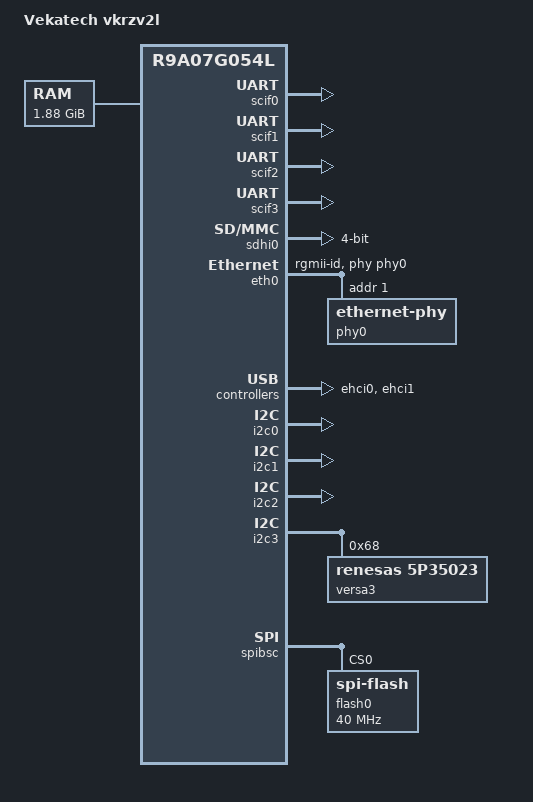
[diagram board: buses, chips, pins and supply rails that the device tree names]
// SPDX-License-Identifier: GPL-2.0
/*
 * Device Tree Source for the VK-RZV2L board
 *
 * Copyright (C) 2017 Jacopo Mondi <jacopo+renesas@jmondi.org>
 * Copyright (C) 2016 Renesas Electronics
 */

/dts-v1/;
#include <dt-bindings/gpio/gpio.h>
#include "r9a07g054l.dtsi"
#include "r9a07g054l-u-boot.dtsi"
#include <dt-bindings/pinctrl/rzv2l-pinctrl.h>

/ {
        model = "Vekatech vkrzv2l";
        compatible = "renesas,r9a07g054l", "renesas,rzv2l";

        aliases {
                serial0 = &scif0;
                serial1 = &scif1;
                serial2 = &scif2;
                serial3 = &scif3;
                spi0 = &spibsc;
        };

        chosen {
                stdout-path = "serial0:115200n8";
        };

        memory@48000000 {
                device_type = "memory";
                /* first 128MB is reserved for secure area. */
                reg = <0 0x48000000 0 0x78000000>;
        };


        usb0-select {
                label = "usb0-sel";
                gpios = <&P5 2 GPIO_ACTIVE_HIGH>;
        };

};

&pinctrl {
        eth0_pins: eth0 {
                pinmux = <RZV2L_PINMUX(20, 0, 1)>,
                                <RZV2L_PINMUX(20, 1, 1)>,
                                <RZV2L_PINMUX(20, 2, 1)>,
                                <RZV2L_PINMUX(21, 0, 1)>,
                                <RZV2L_PINMUX(21, 1, 1)>,
                                <RZV2L_PINMUX(22, 0, 1)>,
                                <RZV2L_PINMUX(23, 0, 1)>,
                                <RZV2L_PINMUX(23, 1, 1)>,
                                <RZV2L_PINMUX(24, 0, 1)>,
                                <RZV2L_PINMUX(24, 1, 1)>,
                                <RZV2L_PINMUX(25, 0, 1)>,
                                <RZV2L_PINMUX(25, 1, 1)>,
                                <RZV2L_PINMUX(26, 0, 1)>,
                                <RZV2L_PINMUX(26, 1, 1)>,
                                <RZV2L_PINMUX(27, 0, 1)>,
                                <RZV2L_PINMUX(27, 1, 1)>,
                                <RZV2L_PINMUX(28, 0, 1)>,
                                <RZV2L_PINMUX(28, 1, 1)>;
        };

        i2c2_pins: i2c2 {
                pinmux = <RZV2L_PINMUX(46, 0, 4)>,
                         <RZV2L_PINMUX(46, 1, 4)>;
        }; 

        i2c3_pins: i2c3 {
                pinmux = <RZV2L_PINMUX(18, 0, 3)>,
                         <RZV2L_PINMUX(18, 1, 3)>;
        }; 

        scif1_pins: scif1 {
                pinmux = <RZV2L_PINMUX(40, 0, 1)>,
                         <RZV2L_PINMUX(40, 1, 1)>;
        };

        scif2_pins: scif2 {
                pinmux = <RZV2L_PINMUX(48, 0, 1)>,
                         <RZV2L_PINMUX(48, 1, 1)>;
        };

        scif3_pins: scif3 {
                pinmux = <RZV2L_PINMUX(0, 0, 4)>,
                         <RZV2L_PINMUX(0, 1, 4)>;
        };
};

&xinclk {
        clock-frequency = <24000000>;
};

&scif0 {
        status = "okay";
        clock = <100000000>;
};

&scif1 {
        pinctrl-names = "default";
        pinctrl-0 = <&scif1_pins>;

        status = "okay";
};

&scif2 {
        pinctrl-names = "default";
        pinctrl-0 = <&scif2_pins>;

        status = "okay";
};


&scif3 {
        pinctrl-names = "default";
        pinctrl-0 = <&scif3_pins>;

        status = "okay";
};

&sdhi0 {
        /* pinctrl placeholder
         * If this channel is used for interfacing with a SD card, a power enable
         * pin (SD0_PWR_EN) must be defined.
         * The SD0_PWR_EN pin is associated with P19_0.
         * A HIGH signal on SD0_PWR_EN will enable supply voltage for SD card.
        */
        bus-width = <4>;
        status = "okay";
};

&eth0 {
        pinctrl-names = "default";
        pinctrl-0 = <&eth0_pins>;
        phy-handle = <&phy0>;
        phy-mode = "rgmii-id";
        status = "okay";

        phy0: ethernet-phy@1 {
                reg = <1>;
        };
};

&ehci0 {
        status = "okay";
}; 

&ehci1 {
        status = "okay";
};


&i2c0 {
        pinctrl-names = "default";
        status = "okay";
};

&i2c1 {
        pinctrl-names = "default";
        status = "okay";
};


&i2c2 {
        pinctrl-0 = <&i2c2_pins>;
        pinctrl-names = "default";
        status = "okay";
};

&i2c3 {
        pinctrl-0 = <&i2c3_pins>;
        pinctrl-names = "default";
        status = "okay";

        versa3: versa3@68 {
                compatible = "renesas,5p35023";
                reg = <0x68>;
                #clock-cells = <1>;
                clocks = <&xinclk>;
                clock-names = "x1";
                renesas,settings = [
                 00 00 11 19 00 42 cc 2b 04 32 00 1a 5f 12 90 79
                 02 4c 00 00 00 00 00 00 10 24 19 bf 3f 30 90 86
                 80 b2 05 c4 9c 
                ];
                assigned-clocks = <&versa3 0>,
                                  <&versa3 1>,
                                  <&versa3 2>,
                                  <&versa3 3>,
                                  <&versa3 4>,
                                  <&versa3 5>;
                assigned-clock-rates = <12288000>, <25000000>,
                                       <25000000>, <12288000>,
                                       <11289600>, <24000000>;
        };
};

&spibsc {
        num-cs = <1>;
        status = "okay";
        spi-max-frequency = <40000000>;
        #address-cells = <1>;
        #size-cells = <0>;
        flash0: spi-flash@0 {
                #address-cells = <1>;
                #size-cells = <1>;
                compatible = "spi-flash", "jedec,spi-nor";
                spi-max-frequency = <40000000>;
                spi-tx-bus-width = <1>;
                spi-rx-bus-width = <1>;
                reg = <0>;
                status = "okay";
        };
};
